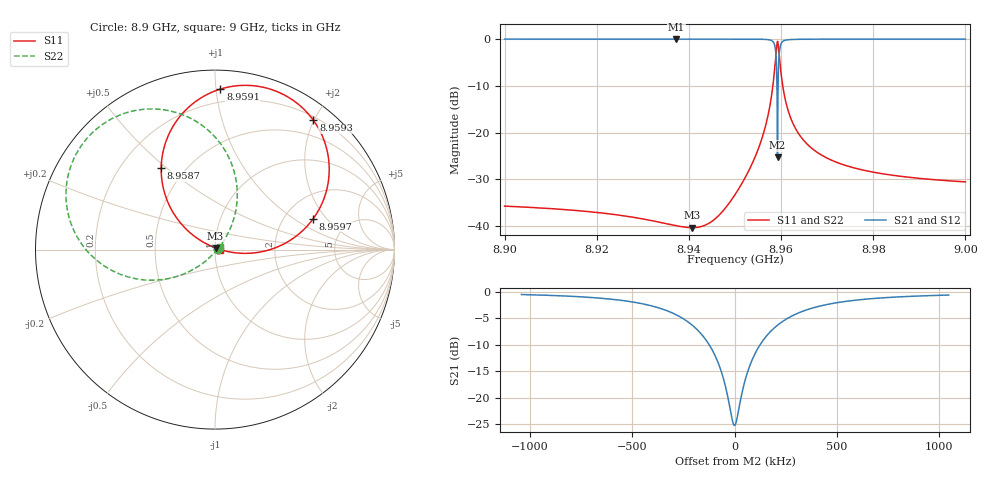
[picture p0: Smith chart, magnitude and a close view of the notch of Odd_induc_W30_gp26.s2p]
! Sonnet Data File
! From: emgraph Version : 16.52
! From Project: Resonator2_cp_varyW
! Data is De-embedded
! Data File Written: 10/09/2017 07:41:30
!< HDATE 10/08/2017 22:10:33
!< MDATE 10/08/2017 22:10:33
!< PARAMS
!< Length = 400.0
!< Pwid1 = 2000.0
!< Pwid2 = 2000.0
!< Air_gap = 18.0
!< Width = 30.0
!< gap = 26.0
!< END PARAMS
# GHZ S MA R 43.05000
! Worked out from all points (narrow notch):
!   1595 points, 8.9 GHz to 9 GHz, reference 43.05 ohm
!   highest |S21| = 0.00 dB at 8.9373 GHz (marker M1); lowest = -25.2 dB at 8.9592 GHz (marker M2)
!   notch at M2: 25.2 dB deep, 177 kHz wide at half that depth
!   lowest |S11| = -40.3 dB at 8.9407 GHz (marker M3), VSWR 1.02, Z = 43.3 + j0.782 ohm
!   |S11| at or under -10 dB: start of sweep to 8.9582 GHz; 8.960358 GHz to end of sweep
!   |S22| runs from -40.4 to -0.5 dB; largest |S21 - S12| = 0
!   S11 on the Smith chart (normalised r, x): 8.9 GHz: 1.03, +0.01; 8.9587 GHz: 0.37, +0.48; 8.9591 GHz: 0.11, +1.03; 8.9593 GHz: 0.25, +1.99; 8.9597 GHz: 2.86, +1.47; 9 GHz: 1.06, -0.00
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8.9  0.01637 16.8  0.9999 -74.4  0.9999 -74.4  0.01637 14.4
!< P1 F=8.9 Eeff=(5.1612639 -2.2548e-5) Z0=(43.0590329 9.5502e-5) R=0.0 C=0.0
!< P2 F=8.9 Eeff=(5.1612639 -2.2548e-5) Z0=(43.0590329 9.5502e-5) R=0.0 C=0.0
8.9167  0.01453 22.0  0.9999 -74.7  0.9999 -74.7  0.01453 8.7
8.9334  0.01107 40.4  0.9999 -75.1  0.9999 -75.1  0.01105 -10.6
8.9373  0.01009 52.5  0.9999 -75.3  0.9999 -75.3  0.01006 -23.0
8.9407  0.009636 69.5  0.9999 -75.5  0.9999 -75.5  0.00959 -40.5
8.95  0.02171 131.9  0.9997 -76.7  0.9997 -76.7  0.02163 -105.8
8.956098  0.09506 147.9  0.9947 -81.1  0.9947 -81.1  0.0949 -130.9
8.957897  0.2418 142.4  0.9663 -89.6  0.9663 -89.6  0.2415 -143.5
8.958705  0.5455 123.3  0.8164 -108.7  0.8164 -108.7  0.5448 -165.3
8.958956  0.7667 104.8  0.5856 -125.5  0.5856 -125.5  0.7659 175.3
8.959097  0.8951 88.0  0.3256 -137.7  0.3256 -137.7  0.894 158.1
8.959161  0.9324 79.0  0.175 -138.0  0.175 -138.0  0.9313 148.8
8.959225  0.9459 69.4  0.05466 -74.1  0.05466 -74.1  0.9448 139.1
8.959286  0.9343 60.5  0.1671 -13.5  0.1671 -13.5  0.9332 130.0
8.959341  0.9053 52.7  0.2962 -12.7  0.2962 -12.7  0.9044 122.0
8.959502  0.7678 34.1  0.5874 -25.7  0.5874 -25.7  0.7669 102.9
8.959735  0.5737 17.5  0.797 -40.7  0.797 -40.7  0.5731 85.6
8.9603  0.3303 1.4  0.938 -56.4  0.938 -56.4  0.33 67.9
8.961303  0.188 -6.3  0.9805 -64.9  0.9805 -64.9  0.1878 57.6
8.9667  0.06772 -8.5  0.9976 -71.9  0.9976 -71.9  0.06768 44.9
8.9834  0.03546 -3.0  0.9994 -73.9  0.9994 -73.9  0.03545 35.2
9  0.02973 -0.4  0.9996 -74.4  0.9996 -74.4  0.02973 31.6
